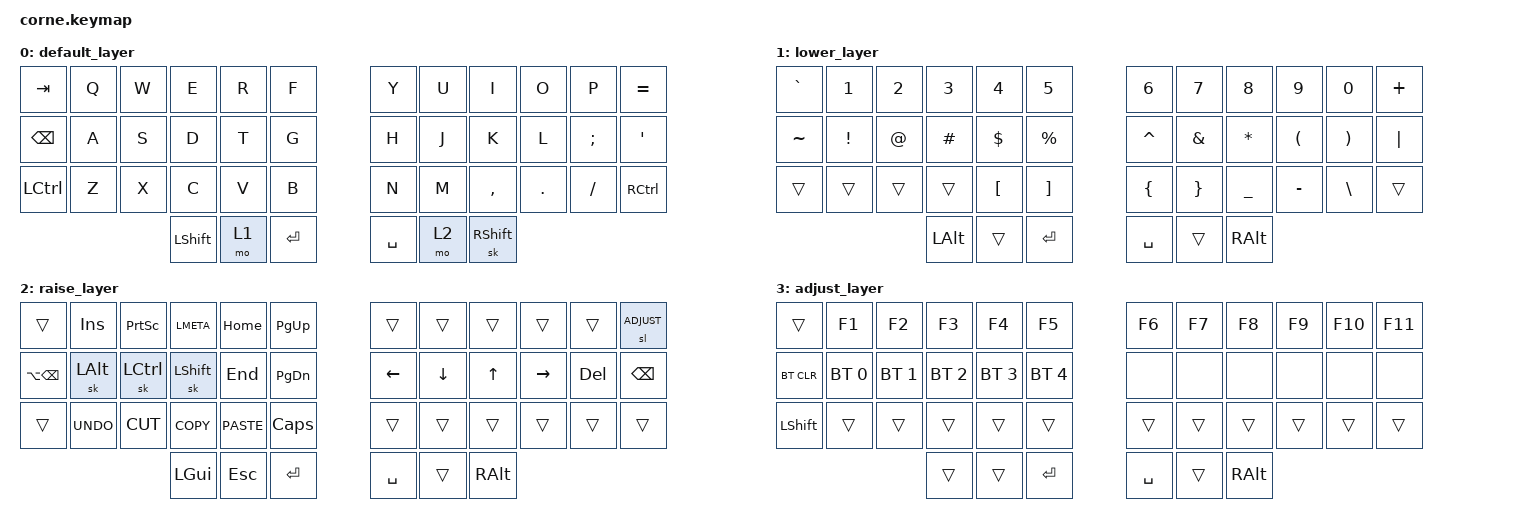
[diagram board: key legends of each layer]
/*
 * Copyright (c) 2020 The ZMK Contributors
 *
 * SPDX-License-Identifier: MIT
 */

#include <behaviors.dtsi>
#include <dt-bindings/zmk/keys.h>
#include <dt-bindings/zmk/bt.h>

#define ADJUST 3
// 3 is the index of the layer in the structure keymap

/ {
        keymap {
                compatible = "zmk,keymap";

                default_layer {
// -----------------------------------------------------------------------------------------
// |  TAB  |  Q  |  W  |  E  |  R  |  F  |   |  Y  |  U   |  I  |  O  |  P  |  =   |
// | BKSPC |  A  |  S  |  D  |  T  |  G  |   |  H  |  J   |  K  |  L  |  ;  |  '   |
// | CTRL  |  Z  |  X  |  C  |  V  |  B  |   |  N  |  M   |  ,  |  .  |  /  | CTRL |
//                   | SHIFT | LWR | ENT |   | SPC | RSE  | SHIFT |
                        bindings = <
   &kp TAB   &kp Q &kp W &kp E      &kp R   &kp F       &kp Y      &kp U  &kp I     &kp O   &kp P    &kp EQUAL
   &kp BSPC  &kp A &kp S &kp D      &kp T   &kp G       &kp H      &kp J  &kp K     &kp L   &kp SEMI &kp SQT
   &kp LCTRL &kp Z &kp X &kp C      &kp V   &kp B       &kp N      &kp M  &kp COMMA &kp DOT &kp FSLH &kp RCTRL
                         &kp LSHFT  &mo 1   &kp RET     &kp SPACE  &mo 2  &sk RSHFT
                        >;
                };
                lower_layer {
// -----------------------------------------------------------------------------------------
// |  `   |  1  |  2  |  3  |  4  |  5  |   |  6  |  7  |  8  |  9  |  0  |  +   |
// |  ~   | !   |  @  |  #  |  $  |  %  |   |  ^  |  &  |  *  |  (  |  )  |  |   |
// |      |     |     |     |  [  |  ]  |   |  {  |  }  |  _  |  -  |  \  |      |
//                    | ALT |     | ENT |   | SPC |     | ALT |
                        bindings = <
   &kp GRAVE  &kp N1       &kp N2       &kp N3       &kp N4       &kp N5        &kp N6     &kp N7    &kp N8          &kp N9    &kp N0    &kp PLUS
   &kp TILDE  &kp EXCL     &kp AT       &kp HASH     &kp DLLR     &kp PRCNT     &kp CARET  &kp AMPS  &kp ASTRK       &kp LPAR  &kp RPAR  &kp PIPE
   &trans     &trans       &trans       &trans       &kp LBKT     &kp RBKT      &kp LBRC  &kp RBRC   &kp UNDERSCORE  &kp MINUS &kp BSLH  &trans
                                        &kp LALT     &trans       &kp RET       &kp SPACE  &trans    &kp RALT
                        >;
                };

                raise_layer {
// -----------------------------------------------------------------------------------------
// |             | INS  | PSCR | META  | HOME  | PGUP     |                |     |      |       |      |       | ADJUST-LAYER |
// | ALT+BKSPC   | ALT  | CTRL | SHIFT | END   | PGDN     |                | <-  |   v  |   ^   |  ->  |  DEL  | BKSPC        |
// |             | UNDO | CUT  | COPY  | PASTE | CAPSLOCK |      |  |      |     |      |       |      |       |              |
// |             |      |      | GUI   | ESC   |  ENT     |                | SPC |     | ALT |
                        bindings = <
&trans        &kp INS      &kp PSCRN    &kp LMETA    &kp HOME     &kp PG_UP     &trans      &trans    &trans     &trans    &trans  &sl ADJUST
&kp LA(BSPC)  &sk LALT     &sk LCTRL    &sk LSHFT    &kp END      &kp PG_DN     &kp LEFT    &kp DOWN  &kp UP     &kp RIGHT &kp DEL &kp BSPC
&trans        &kp K_UNDO   &kp K_CUT    &kp K_COPY   &kp K_PASTE  &kp CLCK      &trans      &trans    &trans     &trans    &trans  &trans
                                        &kp LGUI     &kp ESC      &kp RET       &kp SPACE   &trans    &kp RALT
                        >;
                };

                adjust_layer {
// -----------------------------------------------------------------------------------------
// |  TAB |  F1  |  F2  |  F3  |  F4  |  F5  |   |  F6  | F6 |  F8  |  F9  | F10 | F11 |
// | BTCLR| BT1  | BT2  | BT3  | BT4  | BT5  |   |      |    |      |      |     |     |
// | SHFT |      |      |      |      |      |   |      |    |      |      |     |     |
//                      |  GUI |      | ENT  |   | SPC  |    | ALT  |
                        bindings = <
   &trans     &kp F1       &kp F2       &kp F3       &kp F4       &kp F5         &kp F6     &kp F7    &kp F8  &kp F9    &kp F10 &kp F11
   &bt BT_CLR &bt BT_SEL 0 &bt BT_SEL 1 &bt BT_SEL 2 &bt BT_SEL 3 &bt BT_SEL 4   &none      &none     &none   &none     &none   &none
   &kp LSHFT  &trans       &trans       &trans       &trans       &trans         &trans     &trans    &trans  &trans    &trans  &trans
                                        &trans       &trans       &kp RET        &kp SPACE  &trans    &kp RALT
                        >;
                };

                extra1 {
                        status = "reserved";
                };

                extra2 {
                        status = "reserved";
                };
        };
};
